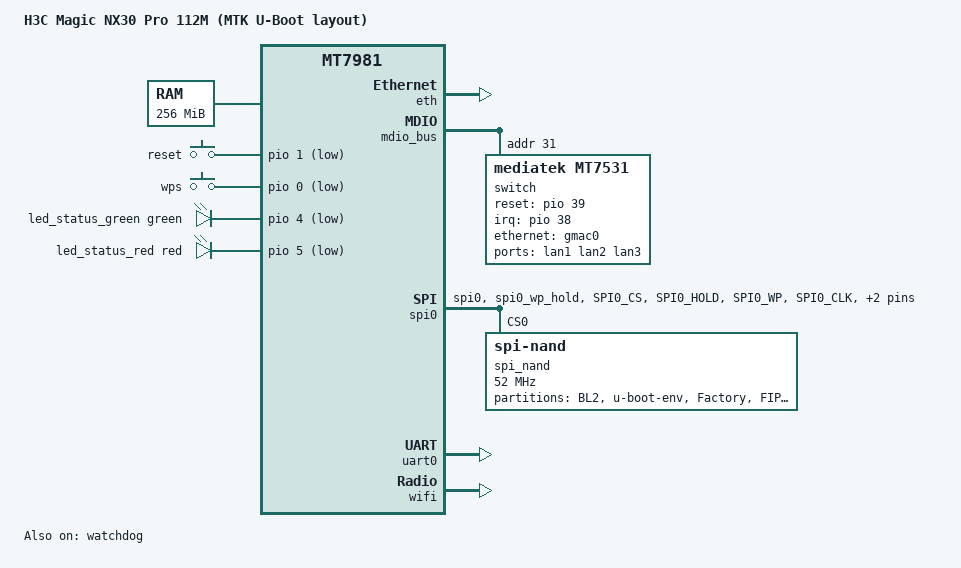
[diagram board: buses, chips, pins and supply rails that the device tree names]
// SPDX-License-Identifier: GPL-2.0-or-later OR MIT
/*
 * H3C Magic NX30 Pro - 112M large partition layout
 *
 * Based on target/linux/mediatek/dts/mt7981b-h3c-magic-nx30-pro.dts
 * (ImmortalWrt 25.12 / kernel 6.12, OpenWrt U-Boot layout)
 *
 * Partition layout change vs. stock:
 *   stock (128M NAND):
 *     BL2        0x0000000 0x100000
 *     u-boot-env 0x0100000 0x080000
 *     Factory    0x0180000 0x200000
 *     FIP        0x0380000 0x200000
 *     ubi        0x0580000 0x4000000  (64M)
 *     pdt_data   0x4580000 0x600000
 *     pdt_data_1 0x4b80000 0x600000
 *     exp        0x5180000 0x100000
 *     plugin     0x5280000 0x2580000
 *
 *   112M layout (this file):
 *     BL2        0x0000000 0x100000
 *     u-boot-env 0x0100000 0x080000
 *     Factory    0x0180000 0x200000
 *     FIP        0x0380000 0x200000
 *     ubi        0x0580000 0x7000000  (112M)
 *
 * NOTE:
 *  - "pdt_data / pdt_data_1 / exp / plugin" are merged into ubi, that is the
 *    whole point of this layout (much more space for rootfs_data / overlay).
 *  - The stock layout stores the ethernet MAC as an ASCII file "ethaddr" in
 *    the pdt_data_1 partition. That partition no longer exists here, so
 *    board.d/02_network is patched at build time to fall back to Factory /
 *    u-boot environment. Record the original MAC before flashing!
 *  - U-Boot and the kernel must agree on the "ubi" partition size, otherwise
 *    UBI attach fails. See README for the flashing procedure.
 */

/dts-v1/;

#include <dt-bindings/gpio/gpio.h>
#include <dt-bindings/input/input.h>
#include <dt-bindings/leds/common.h>
#include <dt-bindings/pinctrl/mt65xx.h>

#include "mt7981b.dtsi"

/ {
	/*
	 * "compatible" is intentionally kept identical to the stock device:
	 * board.d/02_network and other userspace helpers match on board_name.
	 * Only "model" is changed so the two images can be told apart.
	 */
	model = "H3C Magic NX30 Pro 112M (MTK U-Boot layout)";
	compatible = "h3c,magic-nx30-pro", "mediatek,mt7981";

	aliases {
		serial0 = &uart0;
		led-boot = &led_status_green;
		led-failsafe = &led_status_red;
		led-running = &led_status_green;
		led-upgrade = &led_status_red;
	};

	chosen {
		bootargs-append = " root=/dev/fit0 rootwait";
		rootdisk = <&ubi_rootdisk>;
		stdout-path = "serial0:115200n8";
	};

	memory@40000000 {
		reg = <0 0x40000000 0 0x10000000>;
		device_type = "memory";
	};

	gpio-keys {
		compatible = "gpio-keys";

		reset {
			label = "reset";
			linux,code = <KEY_RESTART>;
			gpios = <&pio 1 GPIO_ACTIVE_LOW>;
		};

		wps {
			label = "wps";
			linux,code = <KEY_WPS_BUTTON>;
			gpios = <&pio 0 GPIO_ACTIVE_LOW>;
		};
	};

	leds {
		compatible = "gpio-leds";

		led_status_green: green {
			function = LED_FUNCTION_STATUS;
			color = <LED_COLOR_ID_GREEN>;
			gpios = <&pio 4 GPIO_ACTIVE_LOW>;
		};

		led_status_red: red {
			function = LED_FUNCTION_STATUS;
			color = <LED_COLOR_ID_RED>;
			gpios = <&pio 5 GPIO_ACTIVE_LOW>;
		};
	};
};

&eth {
	status = "okay";

	gmac0: mac@0 {
		compatible = "mediatek,eth-mac";
		reg = <0>;
		phy-mode = "2500base-x";

		fixed-link {
			speed = <2500>;
			full-duplex;
			pause;
		};
	};

	gmac1: mac@1 {
		compatible = "mediatek,eth-mac";
		reg = <1>;
		phy-mode = "gmii";
		phy-handle = <&int_gbe_phy>;
	};
};

&mdio_bus {
	switch: switch@1f {
		compatible = "mediatek,mt7531";
		reg = <31>;
		reset-gpios = <&pio 39 GPIO_ACTIVE_HIGH>;
		interrupt-controller;
		#interrupt-cells = <1>;
		interrupt-parent = <&pio>;
		interrupts = <38 IRQ_TYPE_LEVEL_HIGH>;
	};
};

&spi0 {
	pinctrl-names = "default";
	pinctrl-0 = <&spi0_flash_pins>;
	status = "okay";

	spi_nand@0 {
		compatible = "spi-nand";
		reg = <0>;

		spi-max-frequency = <52000000>;
		spi-tx-bus-width = <4>;
		spi-rx-bus-width = <4>;

		partitions {
			compatible = "fixed-partitions";
			#address-cells = <1>;
			#size-cells = <1>;

			partition@0 {
				label = "BL2";
				reg = <0x0000000 0x0100000>;
				read-only;
			};

			partition@100000 {
				label = "u-boot-env";
				reg = <0x0100000 0x0080000>;
			};

			factory: partition@180000 {
				label = "Factory";
				reg = <0x0180000 0x0200000>;
				read-only;
			};

			partition@380000 {
				label = "FIP";
				reg = <0x0380000 0x0200000>;
				read-only;
			};

			/* 112M: pdt_data / pdt_data_1 / exp / plugin merged into ubi */
			partition@580000 {
				label = "ubi";
				reg = <0x0580000 0x7000000>;
				compatible = "linux,ubi";

				volumes {
					ubi_rootdisk: ubi-volume-fit {
						volname = "fit";
					};
				};
			};
		};
	};
};

&switch {
	ports {
		#address-cells = <1>;
		#size-cells = <0>;

		port@0 {
			reg = <0>;
			label = "lan1";
		};

		port@1 {
			reg = <1>;
			label = "lan2";
		};

		port@2 {
			reg = <2>;
			label = "lan3";
		};

		port@6 {
			reg = <6>;
			ethernet = <&gmac0>;
			phy-mode = "2500base-x";

			fixed-link {
				speed = <2500>;
				full-duplex;
				pause;
			};
		};
	};
};

&pio {
	spi0_flash_pins: spi0-pins {
		mux {
			function = "spi";
			groups = "spi0", "spi0_wp_hold";
		};

		conf-pu {
			pins = "SPI0_CS", "SPI0_HOLD", "SPI0_WP";
			drive-strength = <MTK_DRIVE_8mA>;
			bias-disable; /* bias-disable */
		};

		conf-pd {
			pins = "SPI0_CLK", "SPI0_MOSI", "SPI0_MISO";
			drive-strength = <MTK_DRIVE_8mA>;
			bias-disable; /* bias-disable */
		};
	};
};

&uart0 {
	status = "okay";
};

&watchdog {
	status = "okay";
};

&wifi {
	status = "okay";

	mediatek,mtd-eeprom = <&factory 0x0>;
};
